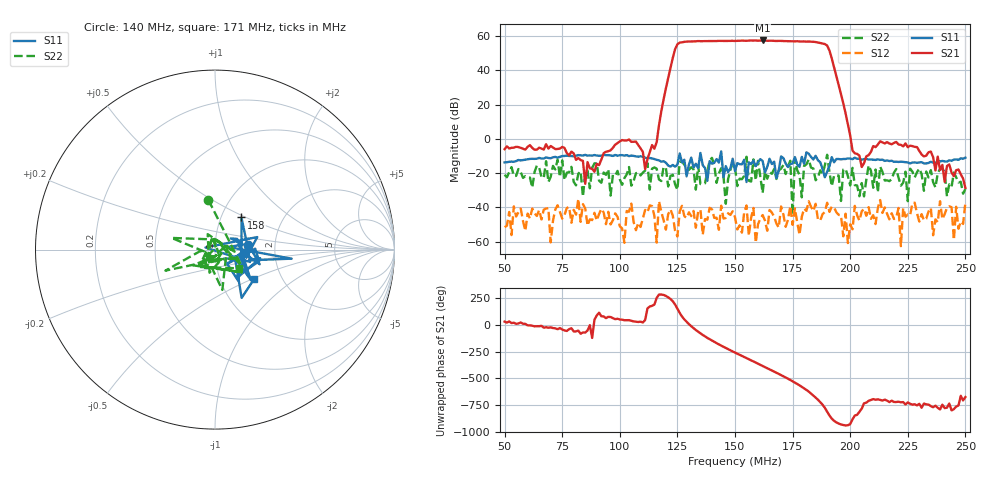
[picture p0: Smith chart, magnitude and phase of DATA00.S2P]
! Network Analyzer HP8753D.06.12 Serial No. 3410A09394
! 13 Jun 2019  08:23:46
# HZ  S  DB R 50
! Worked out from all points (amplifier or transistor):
!   201 points, 50 MHz to 250 MHz, reference 50 ohm
!   highest |S21| = 57.4 dB at 162 MHz (marker M1)
!   |S21| within 3 dB of that: 124.7 MHz to 190 MHz (65.28 MHz wide, 41.5 % of centre)
!   unconditionally stable (mu >= 1): start of sweep to 121.9 MHz; 124.5405 MHz to 125.0478 MHz; 193.4 MHz to end of sweep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
!   at 83 MHz: K = 483.32, MAG = -11.8 dB, |S12| = -48.4 dB
!   at 150 MHz: K = 1.97, MSG = 51.5 dB, |S12| = -45.8 dB
!   at 250 MHz: K = 911.14, MAG = -28.3 dB, |S12| = -37.3 dB
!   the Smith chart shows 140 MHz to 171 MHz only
!   S11 on the Smith chart (normalised r, x): 140 MHz: 1.45, +0.08; 158 MHz: 1.25, +0.47; 171 MHz: 1.45, -0.52
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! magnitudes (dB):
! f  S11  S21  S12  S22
! 50 MHz  -13.7  -6.0  -51.6  -21.0
! 84 MHz  -9.8  -12.9  -38.1  -33.8
! 114 MHz  -11.5  -3.6  -39.3  -17.4
! 116 MHz  -12.3  -1.9  -60.6  -17.4
! 117 MHz  -12.5  7.8  -36.4  -23.7
! 125 MHz  -15.0  55.2  -57.0  -29.8
! 140 MHz  -14.5  57.1  -41.2  -11.1
! 146 MHz  -15.9  57.1  -46.2  -37.9
! 150 MHz  -18.7  57.1  -45.8  -16.4
! 158 MHz  -12.7  57.4  -40.3  -12.0
! 162 MHz  -13.0  57.4  -44.5  -31.6
! 171 MHz  -11.3  57.1  -44.2  -15.3
! 174 MHz  -14.7  57.0  -39.3  -12.8
! 175 MHz  -14.4  56.9  -50.2  -44.5
! 176 MHz  -10.6  56.9  -40.6  -11.6
! 179 MHz  -10.5  56.9  -45.5  -34.1
! 184 MHz  -12.1  56.7  -42.1  -17.3
! 205 MHz  -12.2  -16.4  -42.4  -25.8
! 217 MHz  -13.0  -2.7  -47.0  -24.7
! 239 MHz  -13.2  -18.2  -36.4  -17.5
! 245 MHz  -12.1  -21.8  -59.0  -19.7
! 250 MHz  -11.0  -28.7  -37.3  -29.3
